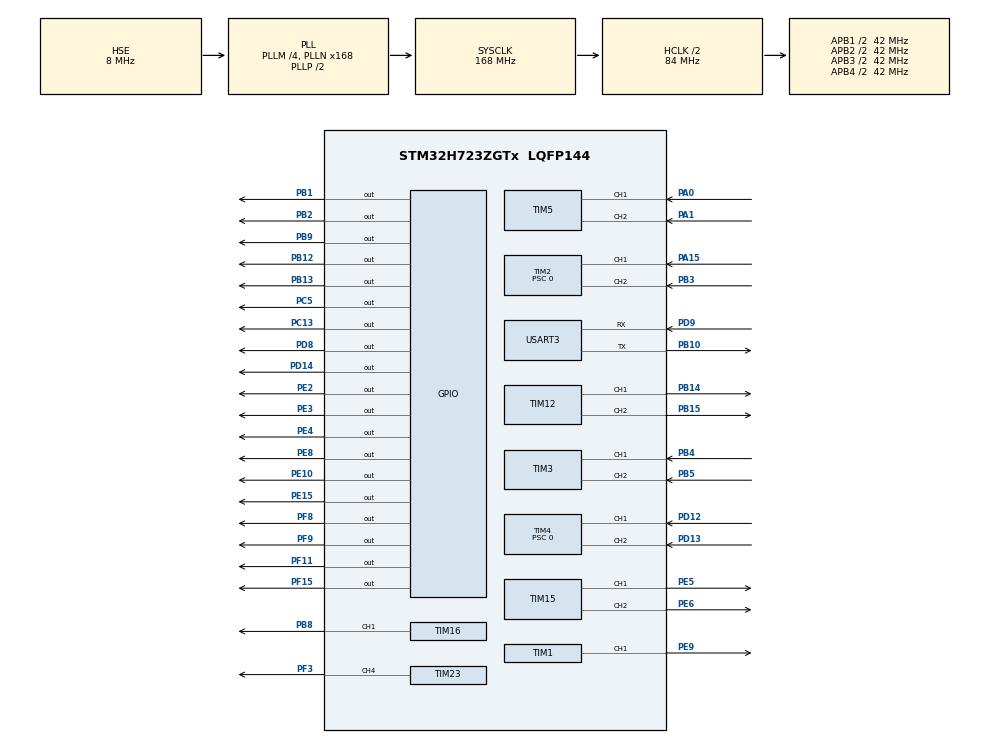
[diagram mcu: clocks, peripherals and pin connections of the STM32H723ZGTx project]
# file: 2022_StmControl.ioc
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Dma.Request0=USART3_RX
Dma.Request1=USART3_TX
Dma.USART3_RX.0.Direction=DMA_PERIPH_TO_MEMORY
Dma.USART3_RX.0.EventEnable=DISABLE
Dma.USART3_RX.0.FIFOMode=DMA_FIFOMODE_DISABLE
Dma.USART3_RX.0.Instance=DMA1_Stream0
Dma.USART3_RX.0.MemDataAlignment=DMA_MDATAALIGN_BYTE
Dma.USART3_RX.0.MemInc=DMA_MINC_ENABLE
Dma.USART3_RX.0.Mode=DMA_NORMAL
Dma.USART3_RX.0.PeriphDataAlignment=DMA_PDATAALIGN_BYTE
Dma.USART3_RX.0.PeriphInc=DMA_PINC_DISABLE
Dma.USART3_RX.0.Polarity=HAL_DMAMUX_REQ_GEN_RISING
Dma.USART3_RX.0.Priority=DMA_PRIORITY_HIGH
Dma.USART3_RX.0.RequestNumber=1
Dma.USART3_RX.0.SignalID=NONE
Dma.USART3_RX.0.SyncEnable=DISABLE
Dma.USART3_RX.0.SyncPolarity=HAL_DMAMUX_SYNC_NO_EVENT
Dma.USART3_RX.0.SyncRequestNumber=1
Dma.USART3_RX.0.SyncSignalID=NONE
Dma.USART3_TX.1.Direction=DMA_MEMORY_TO_PERIPH
Dma.USART3_TX.1.EventEnable=DISABLE
Dma.USART3_TX.1.FIFOMode=DMA_FIFOMODE_DISABLE
Dma.USART3_TX.1.Instance=DMA1_Stream1
Dma.USART3_TX.1.MemDataAlignment=DMA_MDATAALIGN_BYTE
Dma.USART3_TX.1.MemInc=DMA_MINC_ENABLE
Dma.USART3_TX.1.Mode=DMA_NORMAL
Dma.USART3_TX.1.PeriphDataAlignment=DMA_PDATAALIGN_BYTE
Dma.USART3_TX.1.PeriphInc=DMA_PINC_DISABLE
Dma.USART3_TX.1.Polarity=HAL_DMAMUX_REQ_GEN_RISING
Dma.USART3_TX.1.Priority=DMA_PRIORITY_HIGH
Dma.USART3_TX.1.RequestNumber=1
Dma.USART3_TX.1.SignalID=NONE
Dma.USART3_TX.1.SyncEnable=DISABLE
Dma.USART3_TX.1.SyncPolarity=HAL_DMAMUX_SYNC_NO_EVENT
Dma.USART3_TX.1.SyncRequestNumber=1
Dma.USART3_TX.1.SyncSignalID=NONE
Mcu.Family=STM32H7
Mcu.Name=STM32H723ZGTx
Mcu.Package=LQFP144
NVIC.DMA1_Stream0_IRQn=true\:0\:0\:false\:false\:true\:false\:true\:true
NVIC.DMA1_Stream1_IRQn=true\:0\:0\:false\:false\:true\:false\:true\:true
NVIC.PriorityGroup=NVIC_PRIORITYGROUP_4
NVIC.TIM15_IRQn=true\:0\:0\:false\:false\:true\:true\:true\:true
NVIC.TIM16_IRQn=true\:0\:0\:false\:false\:true\:true\:true\:true
NVIC.TIM1_BRK_IRQn=true\:0\:0\:false\:false\:true\:true\:true\:true
NVIC.TIM1_CC_IRQn=true\:0\:0\:false\:false\:true\:true\:true\:true
NVIC.TIM1_TRG_COM_IRQn=true\:0\:0\:false\:false\:true\:true\:true\:true
NVIC.TIM1_UP_IRQn=true\:0\:0\:false\:false\:true\:true\:true\:true
NVIC.TIM4_IRQn=true\:0\:0\:false\:false\:true\:true\:true\:true
NVIC.TIM6_DAC_IRQn=true\:0\:0\:false\:false\:true\:true\:true\:true
NVIC.TIM7_IRQn=true\:0\:0\:false\:false\:true\:true\:true\:true
NVIC.TIM8_BRK_TIM12_IRQn=true\:0\:0\:false\:false\:true\:true\:true\:true
NVIC.TIM8_CC_IRQn=true\:0\:0\:false\:false\:true\:true\:true\:true
NVIC.TIM8_TRG_COM_TIM14_IRQn=true\:0\:0\:false\:false\:true\:true\:true\:true
NVIC.TIM8_UP_TIM13_IRQn=true\:0\:0\:false\:false\:true\:true\:true\:true
NVIC.USART3_IRQn=true\:0\:0\:false\:false\:true\:true\:true\:true
PA0.Signal=S_TIM5_CH1
PA1.Signal=S_TIM5_CH2
PA15(JTDI).Signal=S_TIM2_CH1_ETR
PB1.Signal=GPIO_Output
PB10.Mode=Asynchronous
PB10.Signal=USART3_TX
PB12.Signal=GPIO_Output
PB13.Signal=GPIO_Output
PB14.Signal=S_TIM12_CH1
PB15.Signal=S_TIM12_CH2
PB2.Signal=GPIO_Output
PB3(JTDO/TRACESWO).Signal=S_TIM2_CH2
PB4(NJTRST).Signal=S_TIM3_CH1
PB5.Signal=S_TIM3_CH2
PB8.Signal=S_TIM16_CH1
PB9.Signal=GPIO_Output
PC13.Signal=GPIO_Output
PC5.Signal=GPIO_Output
PD12.Signal=S_TIM4_CH1
PD13.Signal=S_TIM4_CH2
PD14.Signal=GPIO_Output
PD8.Signal=GPIO_Output
PD9.Mode=Asynchronous
PD9.Signal=USART3_RX
PE10.Signal=GPIO_Output
PE15.Signal=GPIO_Output
PE2.Signal=GPIO_Output
PE3.Signal=GPIO_Output
PE4.Signal=GPIO_Output
PE5.Signal=S_TIM15_CH1
PE6.Signal=S_TIM15_CH2
PE8.Signal=GPIO_Output
PE9.Signal=S_TIM1_CH1
PF11.Signal=GPIO_Output
PF15.Signal=GPIO_Output
PF3.Signal=S_TIM23_CH4
PF8.Signal=GPIO_Output
PF9.Signal=GPIO_Output
PH0-OSC_IN.Mode=HSE-External-Oscillator
PH0-OSC_IN.Signal=RCC_OSC_IN
PH1-OSC_OUT.Mode=HSE-External-Oscillator
PH1-OSC_OUT.Signal=RCC_OSC_OUT
ProjectManager.HeapSize=0x200
ProjectManager.StackSize=0x400
ProjectManager.TargetToolchain=STM32CubeIDE
RCC.ADCFreq_Value=16125000
RCC.APB1Freq_Value=42000000
RCC.APB2Freq_Value=42000000
RCC.APB3Freq_Value=42000000
RCC.APB4Freq_Value=42000000
RCC.CortexFreq_Value=168000000
RCC.D1PPRE=RCC_APB3_DIV2
RCC.D2PPRE1=RCC_APB1_DIV2
RCC.D2PPRE2=RCC_APB2_DIV2
RCC.D3PPRE=RCC_APB4_DIV2
RCC.DIVM1=4
RCC.DIVN1=168
RCC.HCLKFreq_Value=84000000
RCC.HPRE=RCC_HCLK_DIV2
RCC.HSE_VALUE=8000000
RCC.PLL1_VCI_Range-AdvancedSettings=RCC_PLL1VCIRANGE_3
RCC.PLL2_VCO_SEL-AdvancedSettings=RCC_PLL2VCOMEDIUM
RCC.PLL3FRACN=0
RCC.PLL3_VCI_Range-AdvancedSettings=RCC_PLL3VCIRANGE_3
RCC.PLL3_VCO_SEL-AdvancedSettings=RCC_PLL3VCOWIDE
RCC.PLLFRACN=0
RCC.PLLSourceVirtual=RCC_PLLSOURCE_HSE
RCC.SYSCLKFreq_VALUE=168000000
RCC.SYSCLKSource=RCC_SYSCLKSOURCE_PLLCLK
RCC.USBFreq_Value=168000000
SH.S_TIM12_CH1.0=TIM12_CH1,PWM Generation1 CH1
SH.S_TIM12_CH2.0=TIM12_CH2,PWM Generation2 CH2
SH.S_TIM15_CH1.0=TIM15_CH1,PWM Generation1 CH1
SH.S_TIM15_CH2.0=TIM15_CH2,PWM Generation2 CH2
SH.S_TIM16_CH1.0=TIM16_CH1,PWM Generation1 CH1
SH.S_TIM1_CH1.0=TIM1_CH1,PWM Generation1 CH1
SH.S_TIM23_CH4.0=TIM23_CH4,PWM Generation4 CH4
SH.S_TIM2_CH1_ETR.0=TIM2_CH1,Encoder_Interface
SH.S_TIM2_CH2.0=TIM2_CH2,Encoder_Interface
SH.S_TIM3_CH1.0=TIM3_CH1,Encoder_Interface
SH.S_TIM3_CH2.0=TIM3_CH2,Encoder_Interface
SH.S_TIM4_CH1.0=TIM4_CH1,Encoder_Interface
SH.S_TIM4_CH2.0=TIM4_CH2,Encoder_Interface
SH.S_TIM5_CH1.0=TIM5_CH1,Encoder_Interface
SH.S_TIM5_CH2.0=TIM5_CH2,Encoder_Interface
TIM1.Channel-PWM\ Generation1\ CH1=TIM_CHANNEL_1
TIM1.Period=19999
TIM1.Prescaler=63
TIM12.Channel-PWM\ Generation1\ CH1=TIM_CHANNEL_1
TIM12.Channel-PWM\ Generation2\ CH2=TIM_CHANNEL_2
TIM13.Period=999
TIM13.Prescaler=83
TIM15.Channel-PWM\ Generation1\ CH1=TIM_CHANNEL_1
TIM15.Channel-PWM\ Generation2\ CH2=TIM_CHANNEL_2
TIM16.Channel=TIM_CHANNEL_1
TIM16.Period=19999
TIM16.Prescaler=63
TIM2.Period=4294967295
TIM2.Prescaler=0
TIM23.Channel-PWM\ Generation4\ CH4=TIM_CHANNEL_4
TIM23.Period=19999
TIM23.Prescaler=63
TIM4.Period=65535
TIM4.Prescaler=0
TIM6.Period=19999
TIM6.Prescaler=63
TIM7.Period=9999
TIM7.Prescaler=63
TIM8.Period=1999
TIM8.Prescaler=63
USART3.VirtualMode-Asynchronous=VM_ASYNC
VP_TIM13_VS_ClockSourceINT.Mode=Enable_Timer
VP_TIM16_VS_ClockSourceINT.Mode=Enable_Timer
VP_TIM6_VS_ClockSourceINT.Mode=Enable_Timer
VP_TIM7_VS_ClockSourceINT.Mode=Enable_Timer
VP_TIM8_VS_ClockSourceINT.Mode=Internal
board=custom

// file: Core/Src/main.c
/* USER CODE BEGIN Header */
/**
  ******************************************************************************
  * @file           : main.c
  * @brief          : Main program body
  ******************************************************************************
  * @attention
  *
  * Copyright (c) 2022 STMicroelectronics.
  * All rights reserved.
  *
  * This software is licensed under terms that can be found in the LICENSE file
  * in the root directory of this software component.
  * If no LICENSE file comes with this software, it is provided AS-IS.
  *
  ******************************************************************************
  */
/* USER CODE END Header */
#include "main.h"

/* USER CODE BEGIN Includes */
#include "mainpp.h"
#include "math.h"
/* USER CODE END Includes */

TIM_HandleTypeDef htim1;
TIM_HandleTypeDef htim2;
TIM_HandleTypeDef htim3;
TIM_HandleTypeDef htim4;
TIM_HandleTypeDef htim5;
TIM_HandleTypeDef htim6;
TIM_HandleTypeDef htim7;
TIM_HandleTypeDef htim8;
TIM_HandleTypeDef htim12;
TIM_HandleTypeDef htim13;
TIM_HandleTypeDef htim15;
TIM_HandleTypeDef htim16;
TIM_HandleTypeDef htim23;

UART_HandleTypeDef huart3;
DMA_HandleTypeDef hdma_usart3_rx;
DMA_HandleTypeDef hdma_usart3_tx;

/* USER CODE BEGIN PV */
//motor 1 / encoder(time2)/ INA(PD8) INB(PD14) PWM(time12_ch2)
#define DCmotor1_INA_Port GPIOD
#define DCmotor1_INA_Pin GPIO_PIN_14
#define DCmotor1_INB_Port GPIOD
#define DCmotor1_INB_Pin GPIO_PIN_8

//motor 2/ encoder(time5)/ INA(PB12) INB(PB13) PWM(time12_ch1)
#define DCmotor2_INA_Port GPIOB
#define DCmotor2_INA_Pin GPIO_PIN_12
#define DCmotor2_INB_Port GPIOB
#define DCmotor2_INB_Pin GPIO_PIN_13

//motor 3/ encoder(time3)/ INA(PE2) INB(PE3) PWM(time15_ch1)
#define DCmotor3_INA_Port GPIOE
#define DCmotor3_INA_Pin GPIO_PIN_3
#define DCmotor3_INB_Port GPIOE
#define DCmotor3_INB_Pin GPIO_PIN_2

//motor 4/ encoder(time4)/ INA(PE4) INB(PC13) PWM(time15_ch2)
#define DCmotor4_INA_Port GPIOE
#define DCmotor4_INA_Pin GPIO_PIN_4
#define DCmotor4_INB_Port GPIOC
#define DCmotor4_INB_Pin GPIO_PIN_13

//step 1/ steppin(PF9)/ dir(PC5)/ MS1(PB2)/ MS2(PB1)
#define Step1_STEP_Port GPIOF
#define Step1_STEP_Pin GPIO_PIN_9
#define Step1_DIR_Port GPIOC
#define Step1_DIR_Pin GPIO_PIN_5
#define Step1_MS1_Port GPIOB
#define Step1_MS1_Pin GPIO_PIN_2
#define Step1_MS2_Port GPIOB
#define Step1_MS2_Pin GPIO_PIN_1

//step 2/ steppin(PF8)/ dir(PF11)
#define Step2_STEP_Port GPIOF
#define Step2_STEP_Pin GPIO_PIN_8
#define Step2_DIR_Port GPIOF
#define Step2_DIR_Pin GPIO_PIN_11

//step 3/ steppin(PB9)/ dir(PF15)
#define Step3_STEP_Port GPIOB
#define Step3_STEP_Pin GPIO_PIN_9
#define Step3_DIR_Port GPIOF
#define Step3_DIR_Pin GPIO_PIN_15

//step data
#define PI 3.14159265
#define L1 18.06  //large arm's length
#define L2 10.975 //small arm's length
#define error 2.03 //the distance between servo and middle of circle

//step function
double arctangent2 (double x,double y);
double arctangent2 (double x,double y){
    double answer;
    if(x>0) answer=(atan(y/x))*180.0/PI;
    else if(x<0&&y>=0) answer=atan(y/x)*180.0/PI+180;
    else if(x==0&&y>0) answer=90;
    else if(x<0&&y<0) answer=atan(y/x)*180.0/PI-180;
    else if(x==0&&y<0) answer=-90;
    return answer;
}
//PUMP
#define Pump1_IN1_PORT GPIOE
#define Pump1_IN1_Pin GPIO_PIN_15
#define Pump2_IN3_PORT GPIOE
#define Pump2_IN3_Pin GPIO_PIN_10
#define Pump3_IN4_PORT GPIOE
#define Pump3_IN4_Pin GPIO_PIN_8

// DC motor data
// DC1(right back wheel) / DC2(left back wheel) / DC3(right front wheel) / DC4(left front wheel)
double DC1_RpsGoal = 0, DC2_RpsGoal = 0, DC3_RpsGoal = 0, DC4_RpsGoal = 0;

int ms4=0, n=0;
int pulse_1=0,pulse_2=0,pulse_3=0,pulse_4=0;
int res_encoder=512;
int16_t CountNow_1,CountNow_2,CountNow_3,CountNow_4;
double time=0.001;
double rps_1,rps_2,rps_3,rps_4;
double P_1=0,P_2=0,P_3=0,P_4=0;
double I_1=0,I_2=0,I_3=0,I_4=0;
double e_1=0,e_2=0,e_3=0,e_4=0;
double u_1=0,u_2=0,u_3=0,u_4=0;
double sr_ratio=16;
//P,I
double p_1=500,i_1=250;
double p_2=500,i_2=250;
double p_3=500,i_3=250;
double p_4=500,i_4=250;

//stepper data
//Step1(large arm) / Step2(small arm) / Step3(up down)
//double x=-10.5,y=10.3,z=0;
double Step1_AngleGoal = 0, Step2_AngleGoal = 0, Step3_AngleGoal = 0;

int ms1=0,ms2=0,ms3=0;
int dir_state1 = 1, step_state1 = 1;
int dir_state2 = 1, step_state2 = 1;
int dir_state3 = 1, step_state3 = 1;
int step1=0,step2=0,step3=0;
double angle_before1=98.151,angle_before2=125.696, angle_before3=0;

double Le=0,Lcorrect=0;
double c1=0,c2=0,c3=0,cf=0,cerror=0;
double angle1_Now=0,angle2_Now=0,angle_error=0,anglef=0,angleb=0,angle1=0,angle2=0;
int temp=0;
double angle1_before=0,angle2_before=0;
double angle_true=0;
double x_true=0,y_true=0;
int pump1=1,pump2=2,pump3=3;

//servo data(servo1 -> for the claw/ servo2 -> for the container(180->90))
int Servo1_AngleGoal = 0, Servo2_AngleGoal = 180;

int servo_pulse1=0, servo_pulse2=0;

/* USER CODE END PV */

void SystemClock_Config(void);
static void MX_GPIO_Init(void);
static void MX_TIM2_Init(void);
static void MX_TIM3_Init(void);
static void MX_TIM4_Init(void);
static void MX_TIM5_Init(void);
static void MX_TIM6_Init(void);
static void MX_TIM7_Init(void);
static void MX_TIM8_Init(void);
static void MX_TIM12_Init(void);
static void MX_TIM13_Init(void);
static void MX_TIM15_Init(void);
static void MX_TIM1_Init(void);
static void MX_TIM16_Init(void);
static void MX_DMA_Init(void);
static void MX_USART3_UART_Init(void);
static void MX_TIM23_Init(void);

int main(void)
{
  /* USER CODE BEGIN 1 */

	Step1_AngleGoal = 0;Step2_AngleGoal = 0;Step3_AngleGoal = 0;
	angle_before1=98.151;angle_before2=125.69;angle_before3=0;
	temp=0;

  /* USER CODE END 1 */

  /* MCU Configuration--------------------------------------------------------*/

  /* Reset of all peripherals, Initializes the Flash interface and the Systick. */
  HAL_Init();

  /* Configure the system clock */
  SystemClock_Config();

  /* Initialize all configured peripherals */
  MX_GPIO_Init();
  MX_TIM2_Init();
  MX_TIM3_Init();
  MX_TIM4_Init();
  MX_TIM5_Init();
  MX_TIM6_Init();
  MX_TIM7_Init();
  MX_TIM8_Init();
  MX_TIM12_Init();
  MX_TIM13_Init();
  MX_TIM15_Init();
  MX_TIM1_Init();
  MX_TIM16_Init();
  MX_DMA_Init();
  MX_USART3_UART_Init();
  MX_TIM23_Init();
  /* USER CODE BEGIN 2 */
  	setup();

    HAL_TIM_Encoder_Start(&htim2,TIM_CHANNEL_1); //encoder 1/ time2
    HAL_TIM_Encoder_Start(&htim2,TIM_CHANNEL_2);
    HAL_TIM_Encoder_Start(&htim5,TIM_CHANNEL_1); //encoder 2/ time5
    HAL_TIM_Encoder_Start(&htim5,TIM_CHANNEL_2);
    HAL_TIM_Encoder_Start(&htim3,TIM_CHANNEL_1); //encoder 3/ time3
    HAL_TIM_Encoder_Start(&htim3,TIM_CHANNEL_2);
    HAL_TIM_Encoder_Start(&htim4,TIM_CHANNEL_1); //encoder 4/ time4
    HAL_TIM_Encoder_Start(&htim4,TIM_CHANNEL_2);

    HAL_TIM_PWM_Start(&htim12,TIM_CHANNEL_2); //vnh pwm 1
    HAL_TIM_PWM_Start(&htim12,TIM_CHANNEL_1); //vnh pwm 2
    HAL_TIM_PWM_Start(&htim15,TIM_CHANNEL_1); //vnh pwm 3
    HAL_TIM_PWM_Start(&htim15,TIM_CHANNEL_2); //vnh pwm 4

    HAL_TIM_Base_Start_IT(&htim13); //clock for dcmotor
    HAL_TIM_Base_Start_IT(&htim6); //clock for step1
    HAL_TIM_Base_Start_IT(&htim7); //clock for step2
    HAL_TIM_Base_Start_IT(&htim8); //clock for step3

    HAL_TIM_PWM_Start(&htim1, TIM_CHANNEL_1); //servo1
    HAL_TIM_PWM_Start(&htim16, TIM_CHANNEL_1); //servo2
  /* USER CODE END 2 */

  /* Infinite loop */
  /* USER CODE BEGIN WHILE */
    while (1)
    {
    	/*
    	// step ms1 ms2 initail -> 16 steps
    	HAL_GPIO_WritePin(Step1_MS1_Port, Step1_MS1_Pin, GPIO_PIN_SET);
    	HAL_GPIO_WritePin(Step1_MS2_Port, Step1_MS2_Pin, GPIO_PIN_SET);
    	*/

    	 // step calculate
    		float a = 12;
    		float b = 9.65;
    	   DC3_RpsGoal = vel[1] - vel[0] + vel[2]*(a+b);
    	   DC4_RpsGoal = vel[1] + vel[0] - vel[2]*(a+b);
    	   DC2_RpsGoal = vel[1] - vel[0] - vel[2]*(a+b);
    	   DC1_RpsGoal = vel[1] + vel[0] + vel[2]*(a+b);

			temp = 0;
			angleb=arctangent2(x,y);
			Lcorrect=pow((x*x+y*y-error*error),0.5);
			cerror=(x*x+y*y+Lcorrect*Lcorrect-error*error)/(2*pow(x*x+y*y,0.5)*Lcorrect);
			if(cerror>1||cerror<-1) temp=1;
			angle_error=acos(cerror);
			if(temp==1)angle_true=angleb-angle_error;
			x_true=Lcorrect*cos(angle_true);
			y_true=Lcorrect*sin(angle_true);
			c2=(x_true*x_true+y_true*y_true-L1*L1-L2*L2)/(2*L1*L2);
			if(c2>1||c2<-1) temp=1;
			if(temp==0) angle2_Now=(acos(c2))*180.0/PI;//small arm's angle

			if(angle2_Now<(-54.31)&&angle_before2<125.69&&angle_before2>0) angle2_Now=360+angle2_Now;
			if(angle2_Now<125.69&&angle2_Now>0&&angle_before2>305.69&&angle_before2>0) angle2_Now=360-angle2_Now;

			if(temp==0){
				cf=(L2*L2-(x_true*x_true+y_true*y_true)-L1*L1)/((-2)*L1*pow(x_true*x_true+y_true*y_true,0.5));
				if(cf>1||cf<-1) temp=1;
				anglef=(acos(cf))*180.0/PI;
				if(temp==0){                                //large arm's angle
					if(angle2_Now>0) angle1_Now=angleb+anglef;
					if(angle2_Now<0) angle1_Now=angleb-anglef;
				}
			}
			if(temp==0){
				Step1_AngleGoal =angle1_Now;
				Step2_AngleGoal =angle2_Now;
			}
		 // step initailize????
		 if(Step1_AngleGoal!=angle_before1){

			 step1=0;
			 step1=(Step1_AngleGoal - angle_before1)*1.6/1.8;
			 angle_before1=Step1_AngleGoal;
			 if(step1>=0) dir_state1=1;
			 else if(step1<0){
				 step1=-step1;
				 dir_state1=0;
			 }
			 n++;
		 }
		 if(Step2_AngleGoal!=angle_before2){
			 step2=0;
			 step2=(Step2_AngleGoal - angle_before2)*2.2/1.8;
			 angle_before2=Step2_AngleGoal;
			 if(step2>=0) dir_state2=1; // goes down
			 else if(step2<0){
				 step2=-step2;
				 dir_state2=0;
			 }
		 }
		 if(Step3_AngleGoal!=angle_before3){
			 step3=0;
			 n++;
			 step3=(Step3_AngleGoal - angle_before3)/1.8;
			 angle_before3=Step3_AngleGoal;
			 if(step3>=0) dir_state3=1;
			 else if(step3<0){
				 step3=-step3;
				 dir_state3=0;
			 }
		 }
//		 if(pump1=1) HAL_GPIO_WritePin(Pump1_IN1_PORT,Pump1_IN1_Pin,GPIO_PIN_SET);
//		 if(pump1=0) HAL_GPIO_WritePin(Pump1_IN1_PORT,Pump1_IN1_Pin,GPIO_PIN_RESET);
//		 if(pump2=1) HAL_GPIO_WritePin(Pump2_IN3_PORT,Pump2_IN3_Pin,GPIO_PIN_SET);
//		 if(pump2=0) HAL_GPIO_WritePin(Pump2_IN3_PORT,Pump2_IN3_Pin,GPIO_PIN_RESET);
//		 if(pump3=1) HAL_GPIO_WritePin(Pump3_IN4_PORT,Pump3_IN4_Pin,GPIO_PIN_SET);
//		 if(pump3=0) HAL_GPIO_WritePin(Pump3_IN4_PORT,Pump3_IN4_Pin,GPIO_PIN_RESET);
    /* USER CODE END WHILE */

    /* USER CODE BEGIN 3 */

	 loop();

 	 // servo control/ servo1(timer2ch3)/ servo2(timer16ch1)
 	 servo_pulse1 = 600 + 10 * Servo1_AngleGoal;
 	 __HAL_TIM_SET_COMPARE(&htim1, TIM_CHANNEL_1, servo_pulse1);
 	 servo_pulse2 = 600 + 10 * Servo2_AngleGoal;
 	 __HAL_TIM_SET_COMPARE(&htim16, TIM_CHANNEL_1, servo_pulse2);

   }
  /* USER CODE END 3 */
}

void SystemClock_Config(void)
{
  RCC_OscInitTypeDef RCC_OscInitStruct = {0};
  RCC_ClkInitTypeDef RCC_ClkInitStruct = {0};

  /** Supply configuration update enable
  */
  HAL_PWREx_ConfigSupply(PWR_LDO_SUPPLY);
  /** Configure the main internal regulator output voltage
  */
  __HAL_PWR_VOLTAGESCALING_CONFIG(PWR_REGULATOR_VOLTAGE_SCALE3);

  while(!__HAL_PWR_GET_FLAG(PWR_FLAG_VOSRDY)) {}
  /** Initializes the RCC Oscillators according to the specified parameters
  * in the RCC_OscInitTypeDef structure.
  */
  RCC_OscInitStruct.OscillatorType = RCC_OSCILLATORTYPE_HSE;
  RCC_OscInitStruct.HSEState = RCC_HSE_ON;
  RCC_OscInitStruct.PLL.PLLState = RCC_PLL_ON;
  RCC_OscInitStruct.PLL.PLLSource = RCC_PLLSOURCE_HSE;
  RCC_OscInitStruct.PLL.PLLM = 4;
  RCC_OscInitStruct.PLL.PLLN = 168;
  RCC_OscInitStruct.PLL.PLLP = 2;
  RCC_OscInitStruct.PLL.PLLQ = 2;
  RCC_OscInitStruct.PLL.PLLR = 2;
  RCC_OscInitStruct.PLL.PLLRGE = RCC_PLL1VCIRANGE_1;
  RCC_OscInitStruct.PLL.PLLVCOSEL = RCC_PLL1VCOWIDE;
  RCC_OscInitStruct.PLL.PLLFRACN = 0;
  if (HAL_RCC_OscConfig(&RCC_OscInitStruct) != HAL_OK)
  {
    Error_Handler();
  }
  /** Initializes the CPU, AHB and APB buses clocks
  */
  RCC_ClkInitStruct.ClockType = RCC_CLOCKTYPE_HCLK|RCC_CLOCKTYPE_SYSCLK
                              |RCC_CLOCKTYPE_PCLK1|RCC_CLOCKTYPE_PCLK2
                              |RCC_CLOCKTYPE_D3PCLK1|RCC_CLOCKTYPE_D1PCLK1;
  RCC_ClkInitStruct.SYSCLKSource = RCC_SYSCLKSOURCE_PLLCLK;
  RCC_ClkInitStruct.SYSCLKDivider = RCC_SYSCLK_DIV1;
  RCC_ClkInitStruct.AHBCLKDivider = RCC_HCLK_DIV2;
  RCC_ClkInitStruct.APB3CLKDivider = RCC_APB3_DIV2;
  RCC_ClkInitStruct.APB1CLKDivider = RCC_APB1_DIV2;
  RCC_ClkInitStruct.APB2CLKDivider = RCC_APB2_DIV2;
  RCC_ClkInitStruct.APB4CLKDivider = RCC_APB4_DIV2;

  if (HAL_RCC_ClockConfig(&RCC_ClkInitStruct, FLASH_LATENCY_2) != HAL_OK)
  {
    Error_Handler();
  }
}

static void MX_TIM1_Init(void)
{

  TIM_MasterConfigTypeDef sMasterConfig = {0};
  TIM_OC_InitTypeDef sConfigOC = {0};
  TIM_BreakDeadTimeConfigTypeDef sBreakDeadTimeConfig = {0};

  htim1.Instance = TIM1;
  htim1.Init.Prescaler = 63;
  htim1.Init.CounterMode = TIM_COUNTERMODE_UP;
  htim1.Init.Period = 19999;
  htim1.Init.ClockDivision = TIM_CLOCKDIVISION_DIV1;
  htim1.Init.RepetitionCounter = 0;
  htim1.Init.AutoReloadPreload = TIM_AUTORELOAD_PRELOAD_DISABLE;
  if (HAL_TIM_PWM_Init(&htim1) != HAL_OK)
  {
    Error_Handler();
  }
  sMasterConfig.MasterOutputTrigger = TIM_TRGO_RESET;
  sMasterConfig.MasterOutputTrigger2 = TIM_TRGO2_RESET;
  sMasterConfig.MasterSlaveMode = TIM_MASTERSLAVEMODE_DISABLE;
  if (HAL_TIMEx_MasterConfigSynchronization(&htim1, &sMasterConfig) != HAL_OK)
  {
    Error_Handler();
  }
  sConfigOC.OCMode = TIM_OCMODE_PWM1;
  sConfigOC.Pulse = 0;
  sConfigOC.OCPolarity = TIM_OCPOLARITY_HIGH;
  sConfigOC.OCNPolarity = TIM_OCNPOLARITY_HIGH;
  sConfigOC.OCFastMode = TIM_OCFAST_DISABLE;
  sConfigOC.OCIdleState = TIM_OCIDLESTATE_RESET;
  sConfigOC.OCNIdleState = TIM_OCNIDLESTATE_RESET;
  if (HAL_TIM_PWM_ConfigChannel(&htim1, &sConfigOC, TIM_CHANNEL_1) != HAL_OK)
  {
    Error_Handler();
  }
  sBreakDeadTimeConfig.OffStateRunMode = TIM_OSSR_DISABLE;
  sBreakDeadTimeConfig.OffStateIDLEMode = TIM_OSSI_DISABLE;
  sBreakDeadTimeConfig.LockLevel = TIM_LOCKLEVEL_OFF;
  sBreakDeadTimeConfig.DeadTime = 0;
  sBreakDeadTimeConfig.BreakState = TIM_BREAK_DISABLE;
  sBreakDeadTimeConfig.BreakPolarity = TIM_BREAKPOLARITY_HIGH;
  sBreakDeadTimeConfig.BreakFilter = 0;
  sBreakDeadTimeConfig.Break2State = TIM_BREAK2_DISABLE;
  sBreakDeadTimeConfig.Break2Polarity = TIM_BREAK2POLARITY_HIGH;
  sBreakDeadTimeConfig.Break2Filter = 0;
  sBreakDeadTimeConfig.AutomaticOutput = TIM_AUTOMATICOUTPUT_DISABLE;
  if (HAL_TIMEx_ConfigBreakDeadTime(&htim1, &sBreakDeadTimeConfig) != HAL_OK)
  {
    Error_Handler();
  }
  HAL_TIM_MspPostInit(&htim1);

}

static void MX_TIM2_Init(void)
{

  TIM_Encoder_InitTypeDef sConfig = {0};
  TIM_MasterConfigTypeDef sMasterConfig = {0};

  htim2.Instance = TIM2;
  htim2.Init.Prescaler = 0;
  htim2.Init.CounterMode = TIM_COUNTERMODE_UP;
  htim2.Init.Period = 4294967295;
  htim2.Init.ClockDivision = TIM_CLOCKDIVISION_DIV1;
  htim2.Init.AutoReloadPreload = TIM_AUTORELOAD_PRELOAD_DISABLE;
  sConfig.EncoderMode = TIM_ENCODERMODE_TI1;
  sConfig.IC1Polarity = TIM_ICPOLARITY_RISING;
  sConfig.IC1Selection = TIM_ICSELECTION_DIRECTTI;
  sConfig.IC1Prescaler = TIM_ICPSC_DIV1;
  sConfig.IC1Filter = 0;
  sConfig.IC2Polarity = TIM_ICPOLARITY_RISING;
  sConfig.IC2Selection = TIM_ICSELECTION_DIRECTTI;
  sConfig.IC2Prescaler = TIM_ICPSC_DIV1;
  sConfig.IC2Filter = 0;
  if (HAL_TIM_Encoder_Init(&htim2, &sConfig) != HAL_OK)
  {
    Error_Handler();
  }
  sMasterConfig.MasterOutputTrigger = TIM_TRGO_RESET;
  sMasterConfig.MasterSlaveMode = TIM_MASTERSLAVEMODE_DISABLE;
  if (HAL_TIMEx_MasterConfigSynchronization(&htim2, &sMasterConfig) != HAL_OK)
  {
    Error_Handler();
  }

}

static void MX_TIM3_Init(void)
{

  TIM_Encoder_InitTypeDef sConfig = {0};
  TIM_MasterConfigTypeDef sMasterConfig = {0};

  htim3.Instance = TIM3;
  htim3.Init.Prescaler = 0;
  htim3.Init.CounterMode = TIM_COUNTERMODE_UP;
  htim3.Init.Period = 65535;
  htim3.Init.ClockDivision = TIM_CLOCKDIVISION_DIV1;
  htim3.Init.AutoReloadPreload = TIM_AUTORELOAD_PRELOAD_DISABLE;
  sConfig.EncoderMode = TIM_ENCODERMODE_TI1;
  sConfig.IC1Polarity = TIM_ICPOLARITY_RISING;
  sConfig.IC1Selection = TIM_ICSELECTION_DIRECTTI;
  sConfig.IC1Prescaler = TIM_ICPSC_DIV1;
  sConfig.IC1Filter = 0;
  sConfig.IC2Polarity = TIM_ICPOLARITY_RISING;
  sConfig.IC2Selection = TIM_ICSELECTION_DIRECTTI;
  sConfig.IC2Prescaler = TIM_ICPSC_DIV1;
  sConfig.IC2Filter = 0;
  if (HAL_TIM_Encoder_Init(&htim3, &sConfig) != HAL_OK)
  {
    Error_Handler();
  }
  sMasterConfig.MasterOutputTrigger = TIM_TRGO_RESET;
  sMasterConfig.MasterSlaveMode = TIM_MASTERSLAVEMODE_DISABLE;
  if (HAL_TIMEx_MasterConfigSynchronization(&htim3, &sMasterConfig) != HAL_OK)
  {
    Error_Handler();
  }

}

static void MX_TIM4_Init(void)
{

  TIM_Encoder_InitTypeDef sConfig = {0};
  TIM_MasterConfigTypeDef sMasterConfig = {0};

  htim4.Instance = TIM4;
  htim4.Init.Prescaler = 0;
  htim4.Init.CounterMode = TIM_COUNTERMODE_UP;
  htim4.Init.Period = 65535;
  htim4.Init.ClockDivision = TIM_CLOCKDIVISION_DIV1;
  htim4.Init.AutoReloadPreload = TIM_AUTORELOAD_PRELOAD_DISABLE;
  sConfig.EncoderMode = TIM_ENCODERMODE_TI1;
  sConfig.IC1Polarity = TIM_ICPOLARITY_RISING;
  sConfig.IC1Selection = TIM_ICSELECTION_DIRECTTI;
  sConfig.IC1Prescaler = TIM_ICPSC_DIV1;
  sConfig.IC1Filter = 0;
  sConfig.IC2Polarity = TIM_ICPOLARITY_RISING;
  sConfig.IC2Selection = TIM_ICSELECTION_DIRECTTI;
  sConfig.IC2Prescaler = TIM_ICPSC_DIV1;
  sConfig.IC2Filter = 0;
  if (HAL_TIM_Encoder_Init(&htim4, &sConfig) != HAL_OK)
  {
    Error_Handler();
  }
  sMasterConfig.MasterOutputTrigger = TIM_TRGO_RESET;
  sMasterConfig.MasterSlaveMode = TIM_MASTERSLAVEMODE_DISABLE;
  if (HAL_TIMEx_MasterConfigSynchronization(&htim4, &sMasterConfig) != HAL_OK)
  {
    Error_Handler();
  }

}

static void MX_TIM5_Init(void)
{

  TIM_Encoder_InitTypeDef sConfig = {0};
  TIM_MasterConfigTypeDef sMasterConfig = {0};

  htim5.Instance = TIM5;
  htim5.Init.Prescaler = 0;
  htim5.Init.CounterMode = TIM_COUNTERMODE_UP;
  htim5.Init.Period = 4294967295;
  htim5.Init.ClockDivision = TIM_CLOCKDIVISION_DIV1;
  htim5.Init.AutoReloadPreload = TIM_AUTORELOAD_PRELOAD_DISABLE;
  sConfig.EncoderMode = TIM_ENCODERMODE_TI1;
  sConfig.IC1Polarity = TIM_ICPOLARITY_RISING;
  sConfig.IC1Selection = TIM_ICSELECTION_DIRECTTI;
  sConfig.IC1Prescaler = TIM_ICPSC_DIV1;
  sConfig.IC1Filter = 0;
  sConfig.IC2Polarity = TIM_ICPOLARITY_RISING;
  sConfig.IC2Selection = TIM_ICSELECTION_DIRECTTI;
  sConfig.IC2Prescaler = TIM_ICPSC_DIV1;
  sConfig.IC2Filter = 0;
  if (HAL_TIM_Encoder_Init(&htim5, &sConfig) != HAL_OK)
  {
    Error_Handler();
  }
  sMasterConfig.MasterOutputTrigger = TIM_TRGO_RESET;
  sMasterConfig.MasterSlaveMode = TIM_MASTERSLAVEMODE_DISABLE;
  if (HAL_TIMEx_MasterConfigSynchronization(&htim5, &sMasterConfig) != HAL_OK)
  {
    Error_Handler();
  }

}

static void MX_TIM6_Init(void)
{

  TIM_MasterConfigTypeDef sMasterConfig = {0};

  htim6.Instance = TIM6;
  htim6.Init.Prescaler = 63;
  htim6.Init.CounterMode = TIM_COUNTERMODE_UP;
  htim6.Init.Period = 19999;
  htim6.Init.AutoReloadPreload = TIM_AUTORELOAD_PRELOAD_DISABLE;
  if (HAL_TIM_Base_Init(&htim6) != HAL_OK)
  {
    Error_Handler();
  }
  sMasterConfig.MasterOutputTrigger = TIM_TRGO_RESET;
  sMasterConfig.MasterSlaveMode = TIM_MASTERSLAVEMODE_DISABLE;
  if (HAL_TIMEx_MasterConfigSynchronization(&htim6, &sMasterConfig) != HAL_OK)
  {
    Error_Handler();
  }

}

static void MX_TIM7_Init(void)
{

  TIM_MasterConfigTypeDef sMasterConfig = {0};

  htim7.Instance = TIM7;
  htim7.Init.Prescaler = 63;
  htim7.Init.CounterMode = TIM_COUNTERMODE_UP;
  htim7.Init.Period = 9999;
  htim7.Init.AutoReloadPreload = TIM_AUTORELOAD_PRELOAD_DISABLE;
  if (HAL_TIM_Base_Init(&htim7) != HAL_OK)
  {
    Error_Handler();
  }
  sMasterConfig.MasterOutputTrigger = TIM_TRGO_RESET;
  sMasterConfig.MasterSlaveMode = TIM_MASTERSLAVEMODE_DISABLE;
  if (HAL_TIMEx_MasterConfigSynchronization(&htim7, &sMasterConfig) != HAL_OK)
  {
    Error_Handler();
  }

}

static void MX_TIM8_Init(void)
{

  TIM_ClockConfigTypeDef sClockSourceConfig = {0};
  TIM_MasterConfigTypeDef sMasterConfig = {0};

  htim8.Instance = TIM8;
  htim8.Init.Prescaler = 63;
  htim8.Init.CounterMode = TIM_COUNTERMODE_UP;
  htim8.Init.Period = 1999;
  htim8.Init.ClockDivision = TIM_CLOCKDIVISION_DIV1;
  htim8.Init.RepetitionCounter = 0;
  htim8.Init.AutoReloadPreload = TIM_AUTORELOAD_PRELOAD_DISABLE;
  if (HAL_TIM_Base_Init(&htim8) != HAL_OK)
  {
    Error_Handler();
  }
  sClockSourceConfig.ClockSource = TIM_CLOCKSOURCE_INTERNAL;
  if (HAL_TIM_ConfigClockSource(&htim8, &sClockSourceConfig) != HAL_OK)
  {
    Error_Handler();
  }
  sMasterConfig.MasterOutputTrigger = TIM_TRGO_RESET;
  sMasterConfig.MasterOutputTrigger2 = TIM_TRGO2_RESET;
  sMasterConfig.MasterSlaveMode = TIM_MASTERSLAVEMODE_DISABLE;
  if (HAL_TIMEx_MasterConfigSynchronization(&htim8, &sMasterConfig) != HAL_OK)
  {
    Error_Handler();
  }

}

static void MX_TIM12_Init(void)
{

  TIM_OC_InitTypeDef sConfigOC = {0};

  htim12.Instance = TIM12;
  htim12.Init.Prescaler = 0;
  htim12.Init.CounterMode = TIM_COUNTERMODE_UP;
  htim12.Init.Period = 65535;
  htim12.Init.ClockDivision = TIM_CLOCKDIVISION_DIV1;
  htim12.Init.AutoReloadPreload = TIM_AUTORELOAD_PRELOAD_DISABLE;
  if (HAL_TIM_PWM_Init(&htim12) != HAL_OK)
  {
    Error_Handler();
  }
  sConfigOC.OCMode = TIM_OCMODE_PWM1;
  sConfigOC.Pulse = 0;
  sConfigOC.OCPolarity = TIM_OCPOLARITY_HIGH;
  sConfigOC.OCFastMode = TIM_OCFAST_DISABLE;
  if (HAL_TIM_PWM_ConfigChannel(&htim12, &sConfigOC, TIM_CHANNEL_1) != HAL_OK)
  {
    Error_Handler();
  }
  if (HAL_TIM_PWM_ConfigChannel(&htim12, &sConfigOC, TIM_CHANNEL_2) != HAL_OK)
  {
    Error_Handler();
  }
  HAL_TIM_MspPostInit(&htim12);

}

static void MX_TIM13_Init(void)
{

  htim13.Instance = TIM13;
  htim13.Init.Prescaler = 83;
  htim13.Init.CounterMode = TIM_COUNTERMODE_UP;
  htim13.Init.Period = 999;
  htim13.Init.ClockDivision = TIM_CLOCKDIVISION_DIV1;
  htim13.Init.AutoReloadPreload = TIM_AUTORELOAD_PRELOAD_DISABLE;
  if (HAL_TIM_Base_Init(&htim13) != HAL_OK)
  {
    Error_Handler();
  }

}

static void MX_TIM15_Init(void)
{

  TIM_MasterConfigTypeDef sMasterConfig = {0};
  TIM_OC_InitTypeDef sConfigOC = {0};
  TIM_BreakDeadTimeConfigTypeDef sBreakDeadTimeConfig = {0};

  htim15.Instance = TIM15;
  htim15.Init.Prescaler = 0;
  htim15.Init.CounterMode = TIM_COUNTERMODE_UP;
  htim15.Init.Period = 65535;
  htim15.Init.ClockDivision = TIM_CLOCKDIVISION_DIV1;
  htim15.Init.RepetitionCounter = 0;
  htim15.Init.AutoReloadPreload = TIM_AUTORELOAD_PRELOAD_DISABLE;
  if (HAL_TIM_PWM_Init(&htim15) != HAL_OK)
  {
    Error_Handler();
  }
  sMasterConfig.MasterOutputTrigger = TIM_TRGO_RESET;
  sMasterConfig.MasterSlaveMode = TIM_MASTERSLAVEMODE_DISABLE;
  if (HAL_TIMEx_MasterConfigSynchronization(&htim15, &sMasterConfig) != HAL_OK)
  {
    Error_Handler();
  }
  sConfigOC.OCMode = TIM_OCMODE_PWM1;
  sConfigOC.Pulse = 0;
  sConfigOC.OCPolarity = TIM_OCPOLARITY_HIGH;
  sConfigOC.OCNPolarity = TIM_OCNPOLARITY_HIGH;
  sConfigOC.OCFastMode = TIM_OCFAST_DISABLE;
  sConfigOC.OCIdleState = TIM_OCIDLESTATE_RESET;
  sConfigOC.OCNIdleState = TIM_OCNIDLESTATE_RESET;
  if (HAL_TIM_PWM_ConfigChannel(&htim15, &sConfigOC, TIM_CHANNEL_1) != HAL_OK)
  {
    Error_Handler();
  }
  if (HAL_TIM_PWM_ConfigChannel(&htim15, &sConfigOC, TIM_CHANNEL_2) != HAL_OK)
  {
    Error_Handler();
  }
  sBreakDeadTimeConfig.OffStateRunMode = TIM_OSSR_DISABLE;
  sBreakDeadTimeConfig.OffStateIDLEMode = TIM_OSSI_DISABLE;
  sBreakDeadTimeConfig.LockLevel = TIM_LOCKLEVEL_OFF;
  sBreakDeadTimeConfig.DeadTime = 0;
  sBreakDeadTimeConfig.BreakState = TIM_BREAK_DISABLE;
  sBreakDeadTimeConfig.BreakPolarity = TIM_BREAKPOLARITY_HIGH;
  sBreakDeadTimeConfig.BreakFilter = 0;
  sBreakDeadTimeConfig.AutomaticOutput = TIM_AUTOMATICOUTPUT_DISABLE;
  if (HAL_TIMEx_ConfigBreakDeadTime(&htim15, &sBreakDeadTimeConfig) != HAL_OK)
  {
    Error_Handler();
  }
  HAL_TIM_MspPostInit(&htim15);

}

static void MX_TIM16_Init(void)
{

  TIM_OC_InitTypeDef sConfigOC = {0};
  TIM_BreakDeadTimeConfigTypeDef sBreakDeadTimeConfig = {0};

  htim16.Instance = TIM16;
  htim16.Init.Prescaler = 63;
  htim16.Init.CounterMode = TIM_COUNTERMODE_UP;
  htim16.Init.Period = 19999;
  htim16.Init.ClockDivision = TIM_CLOCKDIVISION_DIV1;
  htim16.Init.RepetitionCounter = 0;
  htim16.Init.AutoReloadPreload = TIM_AUTORELOAD_PRELOAD_DISABLE;
  if (HAL_TIM_Base_Init(&htim16) != HAL_OK)
  {
    Error_Handler();
  }
  if (HAL_TIM_PWM_Init(&htim16) != HAL_OK)
  {
    Error_Handler();
  }
  sConfigOC.OCMode = TIM_OCMODE_PWM1;
  sConfigOC.Pulse = 0;
  sConfigOC.OCPolarity = TIM_OCPOLARITY_HIGH;
  sConfigOC.OCNPolarity = TIM_OCNPOLARITY_HIGH;
  sConfigOC.OCFastMode = TIM_OCFAST_DISABLE;
  sConfigOC.OCIdleState = TIM_OCIDLESTATE_RESET;
  sConfigOC.OCNIdleState = TIM_OCNIDLESTATE_RESET;
  if (HAL_TIM_PWM_ConfigChannel(&htim16, &sConfigOC, TIM_CHANNEL_1) != HAL_OK)
  {
    Error_Handler();
  }
  sBreakDeadTimeConfig.OffStateRunMode = TIM_OSSR_DISABLE;
  sBreakDeadTimeConfig.OffStateIDLEMode = TIM_OSSI_DISABLE;
  sBreakDeadTimeConfig.LockLevel = TIM_LOCKLEVEL_OFF;
  sBreakDeadTimeConfig.DeadTime = 0;
  sBreakDeadTimeConfig.BreakState = TIM_BREAK_DISABLE;
  sBreakDeadTimeConfig.BreakPolarity = TIM_BREAKPOLARITY_HIGH;
  sBreakDeadTimeConfig.BreakFilter = 0;
  sBreakDeadTimeConfig.AutomaticOutput = TIM_AUTOMATICOUTPUT_DISABLE;
  if (HAL_TIMEx_ConfigBreakDeadTime(&htim16, &sBreakDeadTimeConfig) != HAL_OK)
  {
    Error_Handler();
  }
  HAL_TIM_MspPostInit(&htim16);

}

static void MX_TIM23_Init(void)
{

  TIM_MasterConfigTypeDef sMasterConfig = {0};
  TIM_OC_InitTypeDef sConfigOC = {0};

  htim23.Instance = TIM23;
  htim23.Init.Prescaler = 63;
  htim23.Init.CounterMode = TIM_COUNTERMODE_UP;
  htim23.Init.Period = 19999;
  htim23.Init.ClockDivision = TIM_CLOCKDIVISION_DIV1;
  htim23.Init.AutoReloadPreload = TIM_AUTORELOAD_PRELOAD_DISABLE;
  if (HAL_TIM_PWM_Init(&htim23) != HAL_OK)
  {
    Error_Handler();
  }
  sMasterConfig.MasterOutputTrigger = TIM_TRGO_RESET;
  sMasterConfig.MasterSlaveMode = TIM_MASTERSLAVEMODE_DISABLE;
  if (HAL_TIMEx_MasterConfigSynchronization(&htim23, &sMasterConfig) != HAL_OK)
  {
    Error_Handler();
  }
  sConfigOC.OCMode = TIM_OCMODE_PWM1;
  sConfigOC.Pulse = 0;
  sConfigOC.OCPolarity = TIM_OCPOLARITY_HIGH;
  sConfigOC.OCFastMode = TIM_OCFAST_DISABLE;
  if (HAL_TIM_PWM_ConfigChannel(&htim23, &sConfigOC, TIM_CHANNEL_4) != HAL_OK)
  {
    Error_Handler();
  }
  HAL_TIM_MspPostInit(&htim23);

}

static void MX_USART3_UART_Init(void)
{

  huart3.Instance = USART3;
  huart3.Init.BaudRate = 115200;
  huart3.Init.WordLength = UART_WORDLENGTH_8B;
  huart3.Init.StopBits = UART_STOPBITS_1;
  huart3.Init.Parity = UART_PARITY_NONE;
  huart3.Init.Mode = UART_MODE_TX_RX;
  huart3.Init.HwFlowCtl = UART_HWCONTROL_NONE;
  huart3.Init.OverSampling = UART_OVERSAMPLING_16;
  huart3.Init.OneBitSampling = UART_ONE_BIT_SAMPLE_DISABLE;
  huart3.Init.ClockPrescaler = UART_PRESCALER_DIV1;
  huart3.AdvancedInit.AdvFeatureInit = UART_ADVFEATURE_NO_INIT;
  if (HAL_UART_Init(&huart3) != HAL_OK)
  {
    Error_Handler();
  }
  if (HAL_UARTEx_SetTxFifoThreshold(&huart3, UART_TXFIFO_THRESHOLD_1_8) != HAL_OK)
  {
    Error_Handler();
  }
  if (HAL_UARTEx_SetRxFifoThreshold(&huart3, UART_RXFIFO_THRESHOLD_1_8) != HAL_OK)
  {
    Error_Handler();
  }
  if (HAL_UARTEx_DisableFifoMode(&huart3) != HAL_OK)
  {
    Error_Handler();
  }

}

static void MX_DMA_Init(void)
{

  /* DMA controller clock enable */
  __HAL_RCC_DMA1_CLK_ENABLE();

  /* DMA interrupt init */
  /* DMA1_Stream0_IRQn interrupt configuration */
  HAL_NVIC_SetPriority(DMA1_Stream0_IRQn, 0, 0);
  HAL_NVIC_EnableIRQ(DMA1_Stream0_IRQn);
  /* DMA1_Stream1_IRQn interrupt configuration */
  HAL_NVIC_SetPriority(DMA1_Stream1_IRQn, 0, 0);
  HAL_NVIC_EnableIRQ(DMA1_Stream1_IRQn);

}

static void MX_GPIO_Init(void)
{
  GPIO_InitTypeDef GPIO_InitStruct = {0};

  /* GPIO Ports Clock Enable */
  __HAL_RCC_GPIOE_CLK_ENABLE();
  __HAL_RCC_GPIOC_CLK_ENABLE();
  __HAL_RCC_GPIOF_CLK_ENABLE();
  __HAL_RCC_GPIOH_CLK_ENABLE();
  __HAL_RCC_GPIOA_CLK_ENABLE();
  __HAL_RCC_GPIOB_CLK_ENABLE();
  __HAL_RCC_GPIOD_CLK_ENABLE();

  /*Configure GPIO pin Output Level */
  HAL_GPIO_WritePin(GPIOE, GPIO_PIN_2|GPIO_PIN_3|GPIO_PIN_4|GPIO_PIN_8
                          |GPIO_PIN_10|GPIO_PIN_15, GPIO_PIN_RESET);

  /*Configure GPIO pin Output Level */
  HAL_GPIO_WritePin(GPIOC, GPIO_PIN_13|GPIO_PIN_5, GPIO_PIN_RESET);

  /*Configure GPIO pin Output Level */
  HAL_GPIO_WritePin(GPIOF, GPIO_PIN_8|GPIO_PIN_9|GPIO_PIN_11|GPIO_PIN_15, GPIO_PIN_RESET);

  /*Configure GPIO pin Output Level */
  HAL_GPIO_WritePin(GPIOB, GPIO_PIN_1|GPIO_PIN_2|GPIO_PIN_12|GPIO_PIN_13
                          |GPIO_PIN_9, GPIO_PIN_RESET);

  /*Configure GPIO pin Output Level */
  HAL_GPIO_WritePin(GPIOD, GPIO_PIN_8|GPIO_PIN_14, GPIO_PIN_RESET);

  /*Configure GPIO pins : PE2 PE3 PE4 PE8
                           PE10 PE15 */
  GPIO_InitStruct.Pin = GPIO_PIN_2|GPIO_PIN_3|GPIO_PIN_4|GPIO_PIN_8
                          |GPIO_PIN_10|GPIO_PIN_15;
  GPIO_InitStruct.Mode = GPIO_MODE_OUTPUT_PP;
  GPIO_InitStruct.Pull = GPIO_NOPULL;
  GPIO_InitStruct.Speed = GPIO_SPEED_FREQ_LOW;
  HAL_GPIO_Init(GPIOE, &GPIO_InitStruct);

  /*Configure GPIO pins : PC13 PC5 */
  GPIO_InitStruct.Pin = GPIO_PIN_13|GPIO_PIN_5;
  GPIO_InitStruct.Mode = GPIO_MODE_OUTPUT_PP;
  GPIO_InitStruct.Pull = GPIO_NOPULL;
  GPIO_InitStruct.Speed = GPIO_SPEED_FREQ_LOW;
  HAL_GPIO_Init(GPIOC, &GPIO_InitStruct);

  /*Configure GPIO pins : PF8 PF9 PF11 PF15 */
  GPIO_InitStruct.Pin = GPIO_PIN_8|GPIO_PIN_9|GPIO_PIN_11|GPIO_PIN_15;
  GPIO_InitStruct.Mode = GPIO_MODE_OUTPUT_PP;
  GPIO_InitStruct.Pull = GPIO_NOPULL;
  GPIO_InitStruct.Speed = GPIO_SPEED_FREQ_LOW;
  HAL_GPIO_Init(GPIOF, &GPIO_InitStruct);

  /*Configure GPIO pins : PB1 PB2 PB12 PB13
                           PB9 */
  GPIO_InitStruct.Pin = GPIO_PIN_1|GPIO_PIN_2|GPIO_PIN_12|GPIO_PIN_13
                          |GPIO_PIN_9;
  GPIO_InitStruct.Mode = GPIO_MODE_OUTPUT_PP;
  GPIO_InitStruct.Pull = GPIO_NOPULL;
  GPIO_InitStruct.Speed = GPIO_SPEED_FREQ_LOW;
  HAL_GPIO_Init(GPIOB, &GPIO_InitStruct);

  /*Configure GPIO pins : PD8 PD14 */
  GPIO_InitStruct.Pin = GPIO_PIN_8|GPIO_PIN_14;
  GPIO_InitStruct.Mode = GPIO_MODE_OUTPUT_PP;
  GPIO_InitStruct.Pull = GPIO_NOPULL;
  GPIO_InitStruct.Speed = GPIO_SPEED_FREQ_LOW;
  HAL_GPIO_Init(GPIOD, &GPIO_InitStruct);

}

/* USER CODE BEGIN 4 */
void HAL_TIM_PeriodElapsedCallback(TIM_HandleTypeDef *htim)
{

	if (htim->Instance == TIM13) {
	ms4++;
	time=0.001;

	//motor 1 / encoder(time2)/ INA(PD8) INB(PD14) PWM(time12_ch2)
	CountNow_1=__HAL_TIM_GetCounter(&htim2);
	rps_1 = (double) CountNow_1/ 4 /res_encoder/sr_ratio/time;
	__HAL_TIM_SetCounter(&htim2,0);

	e_1=DC1_RpsGoal-rps_1;
	P_1=p_1*e_1;
	I_1=I_1+i_1*e_1*time;

	if(rps_1==0) I_1=0;
	else if (I_1>200) I_1=200;
	else if(I_1<-200) I_1=-200;

	u_1=P_1+I_1;

	if(u_1>=0) {
		HAL_GPIO_WritePin(DCmotor1_INA_Port,DCmotor1_INA_Pin,GPIO_PIN_SET);
		HAL_GPIO_WritePin(DCmotor1_INB_Port,DCmotor1_INB_Pin,GPIO_PIN_RESET);
	}
	else if(u_1<0) {
		HAL_GPIO_WritePin(DCmotor1_INA_Port,DCmotor1_INA_Pin,GPIO_PIN_RESET);
		HAL_GPIO_WritePin(DCmotor1_INB_Port,DCmotor1_INB_Pin,GPIO_PIN_SET);
		u_1=-u_1;
	}

	pulse_1=(int)u_1*1000;
	if(pulse_1>65535) pulse_1=65535;

	__HAL_TIM_SET_COMPARE(&htim12,TIM_CHANNEL_2,pulse_1);

	//motor 2/ encoder(time5)/ INA(PB12) INB(PB13) PWM(time12_ch1)
	CountNow_2=__HAL_TIM_GetCounter(&htim5);
	rps_2 = (double) CountNow_2/ 4 /res_encoder/sr_ratio/time;
	__HAL_TIM_SetCounter(&htim5,0);

	e_2=DC2_RpsGoal-rps_2;
	P_2=p_2*e_2;
	I_2=I_2+i_2*e_2*time;

	if(rps_2==0) I_2=0;
	else if (I_2>200) I_2=200;
	else if(I_2<-200) I_2=-200;

	u_2=P_2+I_2;

	if(u_2>=0) {
		HAL_GPIO_WritePin(DCmotor2_INA_Port,DCmotor2_INA_Pin,GPIO_PIN_SET);
		HAL_GPIO_WritePin(DCmotor2_INB_Port,DCmotor2_INB_Pin,GPIO_PIN_RESET);
	}
	else if(u_2<0) {
		HAL_GPIO_WritePin(DCmotor2_INA_Port,DCmotor2_INA_Pin,GPIO_PIN_RESET);
		HAL_GPIO_WritePin(DCmotor2_INB_Port,DCmotor2_INB_Pin,GPIO_PIN_SET);
		u_2=-u_2;
	}

	pulse_2=(int)u_2*1000;
	if(pulse_2>65535)
	{
		pulse_2=65535;
	}

	__HAL_TIM_SET_COMPARE(&htim12,TIM_CHANNEL_1,pulse_2);

	//motor 3/ encoder(time3)/ INA(PE2) INB(PE3) PWM(time15_ch1)
	CountNow_3=__HAL_TIM_GetCounter(&htim3);
	rps_3 = (double) CountNow_3/ 4 /res_encoder/sr_ratio/time;
	__HAL_TIM_SetCounter(&htim3,0);

	e_3=DC3_RpsGoal-rps_3;
	P_3=p_3*e_3;
	I_3=I_3+i_3*e_3*time;

	if(rps_3==0) I_3=0;
	else if (I_3>200) I_3=200;
	else if(I_3<-200) I_3=-200;

	u_3=P_3+I_3;

	if(u_3>=0) {
		HAL_GPIO_WritePin(DCmotor3_INA_Port,DCmotor3_INA_Pin,GPIO_PIN_SET);
		HAL_GPIO_WritePin(DCmotor3_INB_Port,DCmotor3_INB_Pin,GPIO_PIN_RESET);
	}
	else if(u_3<0) {
		HAL_GPIO_WritePin(DCmotor3_INA_Port,DCmotor3_INA_Pin,GPIO_PIN_RESET);
		HAL_GPIO_WritePin(DCmotor3_INB_Port,DCmotor3_INB_Pin,GPIO_PIN_SET);
		u_3=-u_3;
	}

	pulse_3=(int)u_3*1000;
	if(pulse_3>65535)
	{
		pulse_3=65535;
	}

	__HAL_TIM_SET_COMPARE(&htim15,TIM_CHANNEL_1,pulse_3);

	//motor 4/ encoder(time4)/ INA(PE4) INB(PC13) PWM(time15_ch2)
	CountNow_4=__HAL_TIM_GetCounter(&htim4);
	rps_4 = (double) CountNow_4/ 4 /res_encoder/sr_ratio/time;
	__HAL_TIM_SetCounter(&htim4,0);

	e_4=DC4_RpsGoal-rps_4;
	P_4=p_4*e_4;
	I_4=I_4+i_4*e_4*time;

	if(rps_4==0) I_4=0;
	else if (I_4>200) I_4=200;
	else if(I_4<-200) I_4=-200;

	u_4=P_4+I_4;

	if(u_4>=0) {
		HAL_GPIO_WritePin(DCmotor4_INA_Port,DCmotor4_INA_Pin,GPIO_PIN_SET);
		HAL_GPIO_WritePin(DCmotor4_INB_Port,DCmotor4_INB_Pin,GPIO_PIN_RESET);
	}
	else if(u_4<0) {
		HAL_GPIO_WritePin(DCmotor4_INA_Port,DCmotor4_INA_Pin,GPIO_PIN_RESET);
		HAL_GPIO_WritePin(DCmotor4_INB_Port,DCmotor4_INB_Pin,GPIO_PIN_SET);
		u_4=-u_4;
	}

	pulse_4=(int)u_4*1000;
	if(pulse_4>65535)
	{
		pulse_4=65535;
	}

	__HAL_TIM_SET_COMPARE(&htim15,TIM_CHANNEL_2,pulse_4);

	encoder[0] = rps_1;
	encoder[1] = rps_2;
	encoder[2] = rps_3;
	encoder[3] = rps_4;

}
	// control step 1/timer6
	if (htim->Instance == TIM6) {
		ms1++;

		if(step1!=0){
			if (dir_state1 == 1) HAL_GPIO_WritePin(Step1_DIR_Port, Step1_DIR_Pin, GPIO_PIN_SET);
			else if (dir_state1 == 0) HAL_GPIO_WritePin(Step1_DIR_Port, Step1_DIR_Pin, GPIO_PIN_RESET);

			if (step_state1 == 1) {
				HAL_GPIO_WritePin(Step1_STEP_Port, Step1_STEP_Pin, GPIO_PIN_SET);
				step_state1 = 0;
			}
			else if (step_state1 == 0) {
				HAL_GPIO_WritePin(Step1_STEP_Port, Step1_STEP_Pin, GPIO_PIN_RESET);
				step_state1 = 1;
				step1--;
			}
		}
	}

	// control step 2/timer7
	if (htim->Instance == TIM7) {
		ms2++;

		if(step2!=0){
			if (dir_state2 == 1) HAL_GPIO_WritePin(Step2_DIR_Port, Step2_DIR_Pin, GPIO_PIN_SET);
			else if (dir_state2 == 0) HAL_GPIO_WritePin(Step2_DIR_Port, Step2_DIR_Pin, GPIO_PIN_RESET);

			if (step_state2 == 1) {
				HAL_GPIO_WritePin(Step2_STEP_Port, Step2_STEP_Pin, GPIO_PIN_SET);
				step_state2 = 0;
			}
			else if (step_state2 == 0) {
				HAL_GPIO_WritePin(Step2_STEP_Port, Step2_STEP_Pin, GPIO_PIN_RESET);
				step_state2 = 1;
				step2--;
			}
		}
	}

	// control step 3/timer8
	if (htim->Instance == TIM8) {
		ms3++;

		if(step3!=0){
			if (dir_state3 == 1) HAL_GPIO_WritePin(Step3_DIR_Port, Step3_DIR_Pin, GPIO_PIN_SET);
			else if (dir_state3 == 0) HAL_GPIO_WritePin(Step3_DIR_Port, Step3_DIR_Pin, GPIO_PIN_RESET);

			if (step_state3 == 1) {
				HAL_GPIO_WritePin(Step3_STEP_Port, Step3_STEP_Pin, GPIO_PIN_SET);
				step_state3 = 0;
			}
			else if (step_state3 == 0) {
				HAL_GPIO_WritePin(Step3_STEP_Port, Step3_STEP_Pin, GPIO_PIN_RESET);
				step_state3 = 1;
				step3--;
			}
		}
	}

}
/* USER CODE END 4 */

void Error_Handler(void)
{
  __disable_irq();
  while (1)
  {
  }
}
